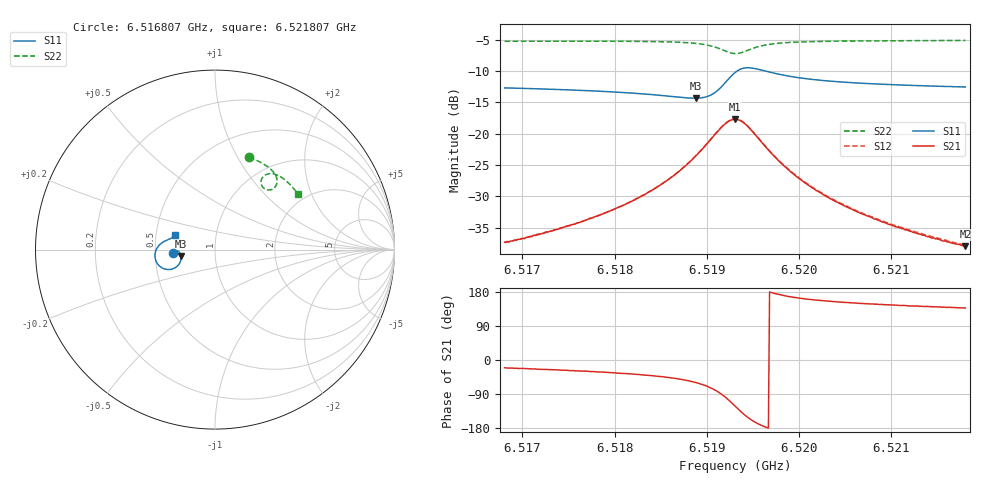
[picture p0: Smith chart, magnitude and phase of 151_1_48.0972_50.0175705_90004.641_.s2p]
#  HZ  S  RI  R  50.00
! Rohde & Schwarz Vector Network Analyzer
! Rohde-Schwarz,ZNB20-2Port,1311601062101988,3.16
! Created: UTC 12/23/2023, 3:49:45 AM
! freq[Hz]  re:S11  im:S11  re:S21  im:S21  re:S12  im:S12  re:S22  im:S22
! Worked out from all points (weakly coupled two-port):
!   401 points, 6.516807 GHz to 6.521807 GHz, reference 50 ohm
!   highest |S21| = -17.67 dB at 6.519307 GHz (marker M1); lowest = -37.9 dB at 6.521807 GHz (marker M2)
!   lowest |S11| = -14.3 dB at 6.518882 GHz (marker M3), VSWR 1.48, Z = 34 - j2.54 ohm
!   |S11| at or under -10 dB: start of sweep to 6.519327 GHz; 6.519643 GHz to end of sweep
!   |S22| runs from -7.2 to -5.1 dB; largest |S21 - S12| = 0.0041
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6.5168071e9  -0.2316 -0.0208  0.0128 -0.00477  0.0128 -0.00447  0.1897 0.5141
6.5172321e9  -0.2273 -0.0143  0.0147 -0.00683  0.0148 -0.00621  0.221 0.5017
6.5176446e9  -0.2218 -0.00906  0.0173 -0.00974  0.0177 -0.00928  0.2516 0.4873
6.5180696e9  -0.2141 -0.00625  0.0215 -0.0152  0.0221 -0.0144  0.2835 0.4685
6.5183196e9  -0.2079 -0.00719  0.0252 -0.0206  0.0258 -0.0199  0.3027 0.4546
6.5184821e9  -0.203 -0.00989  0.0279 -0.0264  0.0289 -0.0254  0.3152 0.4433
6.5186945e9  -0.1953 -0.0184  0.0319 -0.0381  0.0334 -0.0373  0.3316 0.4244
6.518882e9  -0.1891 -0.0359  0.0338 -0.0575  0.0358 -0.0566  0.3435 0.3997
6.5189945e9  -0.1895 -0.0553  0.0302 -0.076  0.0327 -0.0756  0.3461 0.3785
6.519082e9  -0.1973 -0.0764  0.0198 -0.0953  0.0228 -0.0953  0.3409 0.3583
6.519207e9  -0.2357 -0.1073  -0.0191 -0.1197  -0.0157 -0.1211  0.312 0.3337
6.519307e9  -0.2903 -0.1041  -0.0683 -0.1114  -0.0654 -0.1143  0.2746 0.3398
6.519357e9  -0.3141 -0.0865  -0.0877 -0.0936  -0.0856 -0.097  0.2615 0.3548
6.5194195e9  -0.3312 -0.0567  -0.0995 -0.0659  -0.0983 -0.0693  0.2565 0.3772
6.5195195e9  -0.3319 -0.0131  -0.0956 -0.0285  -0.0955 -0.0316  0.2681 0.4058
6.519632e9  -0.3172 0.0172  -0.0795 -0.00527  -0.08 -0.00744  0.2904 0.4204
6.519882e9  -0.2861 0.0438  -0.0509 0.011  -0.0515 0.0095  0.331 0.4211
6.5201445e9  -0.2665 0.0532  -0.0347 0.0131  -0.0355 0.0123  0.36 0.409
6.5205195e9  -0.2503 0.0604  -0.0229 0.0124  -0.0237 0.0119  0.39 0.3883
6.520982e9  -0.238 0.0675  -0.0155 0.0107  -0.0161 0.0105  0.4192 0.3611
6.5214195e9  -0.2294 0.0735  -0.0116 0.00939  -0.0121 0.00932  0.4428 0.3348
6.521807e9  -0.2231 0.0788  -0.00934 0.00857  -0.00962 0.00848  0.4614 0.3106
